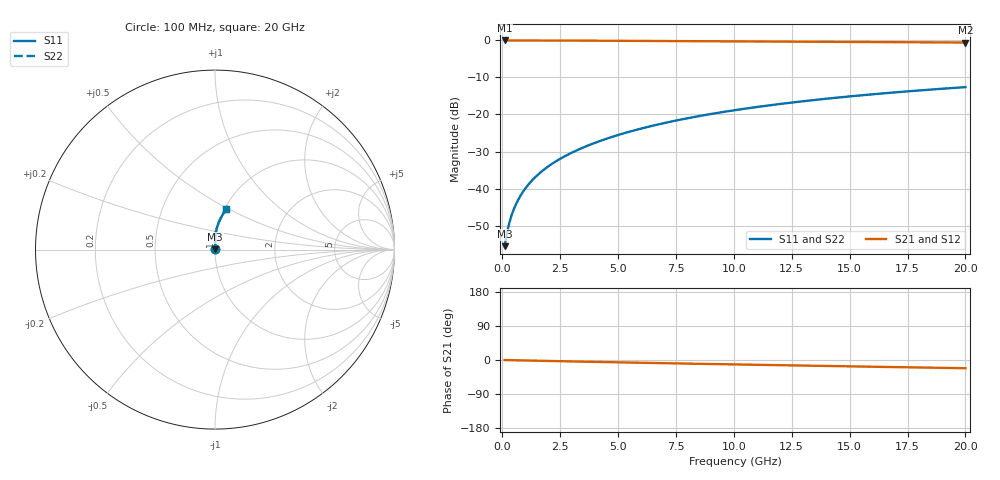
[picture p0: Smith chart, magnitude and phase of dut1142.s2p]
! Touchstone file exported from HFSS 2024.1.0
!  File:  C:/UserFiles/LocalFiles/RDL_TSV_Batchsim/temp_RDL_top_1142_1780047855.aedt
!  Generated:  05:46:30 PM May 29, 2026
!  Design:  RDL_top
!  Project:  temp_RDL_top_1142_1780047855
!  Setup:  Setup1
!  Solution:  Sweep
! Variables:
!  dtsv = 10.80580581um
!  hbump = 3um
!  htsv = 58.2um
!  ldown = 100um
!  lrdl = 268.83um
!  p = 40
!  p1 = 56.86um
!  rhole = 1um
!  t = 450um
!  tdown = 3.915915916um
!  trdl = 3.65um
!  wdown = 15.38538539um
!  wrdl = 24.89um
# GHz S MA R 50.000000
! Terminal data exported
! Port[1] = Box2_T1
! Port[2] = Box2_T2
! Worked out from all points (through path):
!   200 points, 100 MHz to 20 GHz, reference 50 ohm
!   highest |S21| = -0.01 dB at 100 MHz (marker M1); lowest = -0.6 dB at 20 GHz (marker M2)
!   group delay of S21, straight-line fit = 2.97 ps
!   lowest |S11| = -55.6 dB at 100 MHz (marker M3), VSWR 1.00, Z = 50.1 + j0.108 ohm
!   |S11| at or under -10 dB: start of sweep to end of sweep
!   |S22| runs from -55.6 to -12.6 dB; largest |S21 - S12| = 5.1e-15
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0.1  0.001668 40.4  0.9987 -0.1  0.9987 -0.1  0.001668 40.4
! Gamma 0 0 0 0
! Port Impedance 50 0 50 0
0.2  0.002505 57.9  0.9986 -0.3  0.9986 -0.3  0.002505 57.9
0.3  0.003417 66.0  0.9985 -0.4  0.9985 -0.4  0.003417 66.0
0.4  0.004344 70.8  0.9985 -0.5  0.9985 -0.5  0.004344 70.8
0.5  0.00528 74.1  0.9984 -0.7  0.9984 -0.7  0.00528 74.1
0.6  0.006225 76.5  0.9983 -0.8  0.9983 -0.8  0.006225 76.5
0.8  0.008138 79.8  0.9981 -1.0  0.9981 -1.0  0.008138 79.8
1.1  0.01106 82.8  0.9978 -1.4  0.9978 -1.4  0.01106 82.8
1.5  0.01502 85.1  0.9973 -1.9  0.9973 -1.9  0.01502 85.1
1.8  0.01803 86.3  0.9968 -2.3  0.9968 -2.3  0.01803 86.3
2.1  0.02109 87.2  0.9963 -2.7  0.9963 -2.7  0.02109 87.2
2.7  0.02732 88.3  0.9949 -3.4  0.9949 -3.4  0.02732 88.3
3.5  0.03591 89.2  0.9929 -4.4  0.9929 -4.4  0.03591 89.2
4.2  0.04368 89.6  0.9908 -5.3  0.9908 -5.3  0.04368 89.6
5  0.05282 89.6  0.9882 -6.2  0.9882 -6.2  0.05282 89.6
5.9  0.06341 89.4  0.9852 -7.2  0.9852 -7.2  0.06341 89.4
6.8  0.07424 88.8  0.982 -8.2  0.982 -8.2  0.07424 88.8
8.4  0.09391 87.5  0.9764 -10.0  0.9764 -10.0  0.09391 87.5
10.1  0.1151 85.7  0.9706 -11.8  0.9706 -11.8  0.1151 85.7
13.4  0.156 81.9  0.9594 -15.2  0.9594 -15.2  0.156 81.9
16.7  0.1958 77.9  0.9481 -18.5  0.9481 -18.5  0.1958 77.9
20  0.2341 74.1  0.9365 -21.7  0.9365 -21.7  0.2341 74.1
